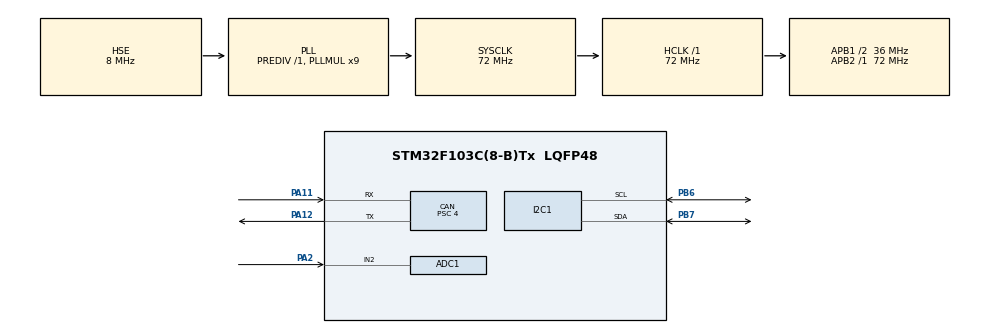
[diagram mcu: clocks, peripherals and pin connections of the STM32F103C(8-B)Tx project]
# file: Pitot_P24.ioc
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ADC1.Channel-1\#ChannelRegularConversion=ADC_CHANNEL_2
ADC1.ContinuousConvMode=ENABLE
ADC1.NbrOfConversion=1
ADC1.NbrOfConversionFlag=1
ADC1.Rank-1\#ChannelRegularConversion=1
ADC1.SamplingTime-1\#ChannelRegularConversion=ADC_SAMPLETIME_1CYCLE_5
ADC1.master=1
CAN.BS1=CAN_BS1_6TQ
CAN.BS2=CAN_BS2_2TQ
CAN.CalculateBaudRate=1000000
CAN.CalculateTimeBit=1000
CAN.CalculateTimeQuantum=111.11111111111111
CAN.Mode=CAN_MODE_NORMAL
CAN.Prescaler=4
Dma.ADC1.0.Direction=DMA_PERIPH_TO_MEMORY
Dma.ADC1.0.Instance=DMA1_Channel1
Dma.ADC1.0.MemDataAlignment=DMA_MDATAALIGN_HALFWORD
Dma.ADC1.0.MemInc=DMA_MINC_ENABLE
Dma.ADC1.0.Mode=DMA_NORMAL
Dma.ADC1.0.PeriphDataAlignment=DMA_PDATAALIGN_HALFWORD
Dma.ADC1.0.PeriphInc=DMA_PINC_DISABLE
Dma.ADC1.0.Priority=DMA_PRIORITY_LOW
Dma.Request0=ADC1
Mcu.Family=STM32F1
Mcu.Name=STM32F103C(8-B)Tx
Mcu.Package=LQFP48
NVIC.ADC1_2_IRQn=true\:0\:0\:false\:false\:true\:true\:true\:true
NVIC.DMA1_Channel1_IRQn=true\:0\:0\:false\:false\:true\:false\:true\:true
NVIC.PriorityGroup=NVIC_PRIORITYGROUP_4
NVIC.USB_HP_CAN1_TX_IRQn=true\:0\:0\:false\:false\:true\:true\:true\:true
NVIC.USB_LP_CAN1_RX0_IRQn=true\:0\:0\:false\:false\:true\:true\:true\:true
PA11.Mode=CAN_Activate
PA11.Signal=CAN_RX
PA12.Mode=CAN_Activate
PA12.Signal=CAN_TX
PA13.Mode=Serial_Wire
PA13.Signal=SYS_JTMS-SWDIO
PA14.Mode=Serial_Wire
PA14.Signal=SYS_JTCK-SWCLK
PA2.Signal=ADCx_IN2
PB6.Mode=I2C
PB6.Signal=I2C1_SCL
PB7.Mode=I2C
PB7.Signal=I2C1_SDA
PD0-OSC_IN.Mode=HSE-External-Oscillator
PD0-OSC_IN.Signal=RCC_OSC_IN
PD1-OSC_OUT.Mode=HSE-External-Oscillator
PD1-OSC_OUT.Signal=RCC_OSC_OUT
ProjectManager.HeapSize=0x200
ProjectManager.StackSize=0x400
ProjectManager.TargetToolchain=STM32CubeIDE
RCC.ADCPresc=RCC_ADCPCLK2_DIV6
RCC.AHBFreq_Value=72000000
RCC.APB1CLKDivider=RCC_HCLK_DIV2
RCC.APB1Freq_Value=36000000
RCC.APB1TimFreq_Value=72000000
RCC.APB2Freq_Value=72000000
RCC.APB2TimFreq_Value=72000000
RCC.HCLKFreq_Value=72000000
RCC.PLLMUL=RCC_PLL_MUL9
RCC.PLLSourceVirtual=RCC_PLLSOURCE_HSE
RCC.SYSCLKFreq_VALUE=72000000
RCC.SYSCLKSource=RCC_SYSCLKSOURCE_PLLCLK
RCC.USBFreq_Value=72000000
SH.ADCx_IN2.0=ADC1_IN2,IN2
VP_TIM4_VS_ClockSourceITR.Mode=TriggerSource_ITR0
VP_TIM4_VS_ControllerModeClock.Mode=Clock Mode
board=custom

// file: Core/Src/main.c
/* USER CODE BEGIN Header */
/**
 ******************************************************************************
 * @file           : main.c
 * @brief          : Main program body
 ******************************************************************************
 * @attention
 *
 * Copyright (c) 2023 STMicroelectronics.
 * All rights reserved.
 *
 * This software is licensed under terms that can be found in the LICENSE file
 * in the root directory of this software component.
 * If no LICENSE file comes with this software, it is provided AS-IS.
 *
 ******************************************************************************
 */
/* USER CODE END Header */
#include "main.h"
/* USER CODE BEGIN Includes */
#include <math.h>
/* USER CODE END Includes */
/* USER CODE BEGIN PD */
#define I2C_PITOT 0
#define ADC_PITOT 1
#define FUNCTION I2C_PITOT
#define CAN_TIME 30
#define TIME_OUT 1000
#define DPUpperRange 2047
#define DPLowerRange 0
#define MS45x5DO_Fault 0
#define Pmax 14746
#define Pmin 1638
#define Tmax 150
#define Tmin -50
#define ADC_BUF_LEN 1
#define smooth  2000
/* USER CODE END PD */
ADC_HandleTypeDef hadc1;
DMA_HandleTypeDef hdma_adc1;
CAN_HandleTypeDef hcan;
I2C_HandleTypeDef hi2c1;
TIM_HandleTypeDef htim4;
void SystemClock_Config(void);
static void MX_GPIO_Init(void);
static void MX_DMA_Init(void);
static void MX_CAN_Init(void);
static void MX_I2C1_Init(void);
static void MX_TIM4_Init(void);
static void MX_ADC1_Init(void);
/* USER CODE BEGIN PFP */
#if (FUNCTION == ADC_PITOT)
uint8_t msg[8]={0,0,0,0,0,0,0,0};
uint16_t adc_buf[ADC_BUF_LEN];
uint8_t x[3] = {0,0,0};
volatile uint8_t overr_flag=0, allow=1;
uint16_t adcVal1[smooth], test = 0;
long long int final[1] = {0};
int time=0;
char val[100];
unsigned int current = 0, msg_previous = 0, msg_interval, default_msg_interval, can_int_prev=0, can_int_interval=100;
int adc_pitot =0;
float analog_pitot=0;
float pressure = 0;
float digits = 0;
#endif
float U;
float fp_avg;
float fpfilt;
uint8_t fpcnt;
float tmp_avg;
float tmpfilt;
uint8_t tmpcnt;
uint32_t time,tick,timecan,tickcan;
uint8_t startup_flag;
uint16_t pcnt;
uint32_t psum;
uint16_t error_cnt;
uint16_t cant_receive;
CAN_TxHeaderTypeDef TxHeader;
CAN_RxHeaderTypeDef RxHeader;
uint32_t TxMailbox;
uint8_t RxData[8], TxData[8], temp, pressure, t;;
uint8_t ACCU[8];
uint32_t time_since_last_message_accu, time_since_last_message_elcon_tsac_can_bus_rx,display_time;
uint8_t counter, flag,flagg;
/* USER CODE END PFP */
/* USER CODE BEGIN 0 */
#if (FUNCTION == I2C_PITOT)
typedef struct MS45x5DOObject {
   uint8_t devAddress;
   union {
       struct {
           uint16_t pressure:14;          // to purpose to union einai to ejhs:
           uint16_t status:2;
           uint16_t insignificance:5;  //otan kaneis access to msData apo pData tote kaneis access ta memebers tou struct, ENW
           uint16_t temperature:11;    //otan kaneis acces to msdata apo rData tote kaneis access ta raw bytes tou rData[4] pinaka (4 bytes)
       }pData;                          // etsi ta 4 bytes tou rData periexoun ta temperature, pressure, insignificance klp..
       uint8_t rData[4];              // diladi, to rData[0] periexei ta LSB gia to "pressure" kai to "status", alla oxi olo to value se bit gia to kathena.....
   }msData;
   int type;
   float pUpperRange;
   float pLowerRange;
   float fTemperature;
   float fPressure;
   void (*Write)(struct MS45x5DOObject *ms,uint8_t *wData,uint16_t wSize);
   void (*Read)(struct MS45x5DOObject *ms,uint8_t *rData,uint16_t rSize);
   void (*Delayms)(volatile uint32_t nTime);
   uint32_t pavg;
   int8_t sign;
}MS45x5DOObjectType;
MS45x5DOObjectType msDP;
//i2c
typedef void (*MS45x5DOWrite)(struct MS45x5DOObject *ms,uint8_t *wData,uint16_t wSize);
typedef void (*MS45x5DORead)(struct MS45x5DOObject *ms,uint8_t *rData,uint16_t rSize);
typedef void (*MS45x5DODelayms)(volatile uint32_t nTime);
static void WriteToDP(MS45x5DOObjectType *ms,uint8_t *wData,uint16_t wSize)
{
   HAL_I2C_Master_Transmit(&hi2c1,ms->devAddress,wData,wSize,1000);
}
static void ReadFromDP(MS45x5DOObjectType *ms,uint8_t *rData,uint16_t rSize)
{
   HAL_I2C_Master_Receive(&hi2c1,ms->devAddress,rData, rSize, 1000);
}
void MS45x5DOInitialization(MS45x5DOObjectType *ms,
                           uint8_t devAddress,
                           int type,
                           float pMax,
                           float pMin,
                           MS45x5DOWrite write,
                           MS45x5DORead read,
                           MS45x5DODelayms delayms
                               )
{
   if((ms==NULL)||(write==NULL)||(read==NULL)||(delayms==NULL))
   {
       return;
   }
   ms->Write=write;
   ms->Read=read;
   ms->Delayms=delayms;
   if((devAddress==0x28)||(devAddress==0x36)||(devAddress==0x46)||((0x48<=devAddress)&&(devAddress<=0x51))) //I2C slave address
   {
       ms->devAddress=(devAddress<<1);
   }
   else if((devAddress==0x50)||(devAddress==0x6C)||(devAddress==0x8C)||((0x48<=(devAddress/2))&&((devAddress/2)<=0x51)))
   {
       ms->devAddress=devAddress;
   }
   else
   {
       ms->devAddress=0x00;
   }
   ms->type=type;
   ms->fPressure=0.0;
   ms->fTemperature=0.0;
   ms->msData.rData[0]=0;
   ms->msData.rData[1]=0;
   ms->msData.rData[2]=0;
   ms->msData.rData[3]=0;
   if((pMax<=0.0000001)&&(pMin<=0.0000001))
   {
       ms->pUpperRange=100.0;
       ms->pLowerRange=0.0;
   }
   else
   {
       ms->pUpperRange=pMax;
       ms->pLowerRange=pMin;
   }
}
void GetMS45x5DOConversionValue(MS45x5DOObjectType *ms)
{
   uint8_t rData[4]={0,0,0,0};
   float maxCount=16383;
   float minCount=0;
   if(ms->type==0)
   {
       maxCount=13106;
       minCount=1638;
   }
   else
   {
       maxCount=14746;
       minCount=819;
   }
   ms->Read(ms,rData,4); //this receives data constantly------------------------------------------nomizw kapws i msdoconversion (sthn while(1)) kallei thn *Read pou deixnei (mesa sthn conversion) sthn local "read" h opoia efoson einai orisma ths void kalei thn MS45x5DORead. omws, sthn initialize, h MS45x5DORead einai proteleftaio orisma. h initialize kaleitai sthn int main me parametro ReadfromDP, h opoia kanei read mesw ths I2C_master_transmit. h while epetai ths klhshs initialization sthn int main, ara etsi lambanei data synexws sthn while (1)
   ms->msData.rData[0]=rData[1]; // where rData[1]==pressu ---- edw anadiatassei ta data pou kanei receive o sensoras, symfwna me thn seira ton data pou exei thesei o idios
   ms->msData.rData[1]=rData[0]; // where rData[0]=status    ----px thelei prwta thn thermokrasia (leme twra) ara data[0] enw o sensoras thn stelnei teleytaia data[3]
   ms->msData.rData[2]=rData[3]; // ...insignificance
   ms->msData.rData[3]=rData[2]; // .... temperature
   if(ms->msData.pData.status!=MS45x5DO_Fault)
   {
      //ms->fPressure = (((float)))
   	ms->fPressure=(((float)(ms->msData.pData.pressure + (8192 - 8090)))/16384.0f);
   	//ms->fPressure=(((float)(8192 + (8192 - ms->pavg)))/16384.0f);
   	if (ms->fPressure >= 0.5) {
   		ms->fPressure -= 0.5;
   		ms->sign = 1;
   	}
   	else {
   		ms->fPressure =0.5 - ms->fPressure;
   		ms->sign = -1;
   	}
   	ms->fPressure *= 6894.75729 * 2;
       ms->fTemperature=((float)ms->msData.pData.temperature/2047.0)*200.0-50.0;
   }
}
#endif
////CANBUS
CAN_TxHeaderTypeDef TxHeader;
CAN_RxHeaderTypeDef RxHeader;
uint32_t TxMailbox;
int i, lasttick;
/* USER CODE END 0 */
int main(void)
{
 /* MCU Configuration--------------------------------------------------------*/
 /* Reset of all peripherals, Initializes the Flash interface and the Systick. */
 HAL_Init();
 /* Configure the system clock */
 SystemClock_Config();
 /* Initialize all configured peripherals */
 MX_GPIO_Init();
 MX_DMA_Init();
 MX_CAN_Init();
 MX_I2C1_Init();
 MX_TIM4_Init();
 MX_ADC1_Init();
 /* USER CODE BEGIN 2 */
//#if (FUNCTION == I2C_PITOT)
//  MS45x5DOInitialization(&msDP,0x28,0,DPUpperRange,DPLowerRange,WriteToDP,ReadFromDP,HAL_Delay);
//#endif
 HAL_Delay(1000);
 //HAL_ADC_Start_DMA(&hadc1,(uint32_t*)adc_buf,ADC_BUF_LEN);
 uint8_t r = 1.2047; //1.1.1687; grammars/liter
 /* USER CODE END 2 */
 /* Infinite loop */
 while (1)
 {
   /* USER CODE BEGIN 3 */
	  //--------------------------------------------------------------------------------delete from here
	  	  	  TxHeader.StdId = 0x499;
			  TxData[0]=69;
			  TxData[1]= 54;    //ayto to kanoume genika epd to canbus stelnei mono integers kai oxi floats
	     	  TxData[2]= 54;   //opote tis kanoume convert se integers kai meta tis stelnoume
	     	  TxData[3]= 54;
	     	  TxData[4]= 54; //kaneis >>8 epd exeis uint16_t kai ara kaneis shift 8 theseis dejia
	     	  TxData[5]= 54;
	     	  TxData[6]= 0;
	     	  TxData[7]= 0;
	     	 if(HAL_CAN_AddTxMessage(&hcan, &TxHeader, TxData, &TxMailbox) != HAL_OK){
	     	     		  error_cnt++;;
	     	     	  }
	     	 //HAL_CAN_RxFifo0MsgPendingCallback(&hcan); // only for loopback mode
	   //-------------------------------------------------------------------------------- to here
//	  GetMS45x5DOConversionValue(&msDP);
//
//	  if(fpcnt < 10){
//		  fp_avg += msDP.fPressure;
//		  fpcnt++;
//	  }
//	  else{
//		  fpfilt = (float)fp_avg/(float)fpcnt;  //in PSI
//		  fpcnt = 0;
//		  fp_avg = 0;
//		  time = HAL_GetTick() - tick;
//		  tick = HAL_GetTick();
//	  }
//
//	  if(tmpcnt < 200){
//		  tmp_avg += msDP.fTemperature;
//		  tmpcnt++;
//	  }
//	  else{
//		  tmpfilt = (float)tmp_avg/(float)tmpcnt;
//		  tmpcnt = 0;
//		  tmp_avg = 0;
//
//	  }
//
//	  U = sqrt(2*fabsf(fpfilt)/r); // nmz m/sec
//
//	  //the expression (2*fabsf(fpfilt)/r) represents the dynamic pressure of the fluid flow,
//	  //and taking the sqrt of it, you get the airspeed
//
//	  timecan = HAL_GetTick() - tickcan;
//
//
//      if(timecan > CAN_TIME){
//    	  TxHeader.StdId = 0x499;
//    	  //TxData[0]= (uint16_t)(fpfilt*1000) >> 8; //gnka exeis times tou typou 25.654 kai 25.654*1000==25654
//    	  TxData[1]= (uint16_t)(fpfilt*1000);    //ayto to kanoume genika epd to canbus stelnei mono integers kai oxi floats
//    	  TxData[2]= (uint16_t)(U*1000) >> 8;    //opote tis kanoume convert se integers kai meta tis stelnoume
//    	  TxData[3]= (uint16_t)(U*1000);
//    	  TxData[4]= (uint16_t)(tmpfilt*1000) >> 8;  //kaneis >>8 epd exeis uint16_t kai ara kaneis shift 8 theseis dejia
//    	  TxData[5]= (uint16_t)(tmpfilt*1000);
//    	  TxData[6]= 0;
//    	  TxData[7]= 0;
//    	  if(HAL_CAN_AddTxMessage(&hcan, &TxHeader, TxData, &TxMailbox) != HAL_OK){
//    		  error_cnt++;;
//    	  }
//
//    	  //HAL_CAN_RxFifo0MsgPendingCallback(&hcan); // only for loopback mode
//
//
////    	  if (HAL_CAN_GetRxMessage(&hcan, &RxHeader, Rxdata, &RxMailbox) != HAL_OK) {
////    	      		  cant_receive++;
////    	      	  }
//    	  tickcan = HAL_GetTick();
//	  }
//
//	  if(!startup_flag && msDP.msData.pData.pressure != 0) {
//		  if(pcnt < 1000){
//			  psum += msDP.msData.pData.pressure;
//		  	  pcnt++;
//		  }
//		  else {
//			  msDP.pavg = psum/pcnt;
//			  startup_flag++;
//		  }
//	  }
	  //U = sqrt(2*fabsf(msDP.fPressure))/r;
#if (FUNCTION == ADC_PITOT)
	  HAL_ADC_Start_DMA(&hadc1,(uint32_t*)adc_buf,ADC_BUF_LEN);
	  	  current = HAL_GetTick();
	  	  if (msg_previous < current) {
	  		  analog_pitot = ((float)adc_pitot)*0.001241;
	  		  pressure = analog_pitot - 2.5;
	  	  uint8_t r = 1.2047;
	  	  U = sqrt((2000*fabsf(pressure))/r);
	  	  adcVal1[time]=adc_buf[0];
	  	  if(time==smooth-1) {
	  		  for(int i=0; i<smooth; i++) {
	  			  final[0]+=adcVal1[i];
	  		  }
	  		  final[0]/=smooth;
	  		  adc_pitot=final[0];
	  		  time=0;
	  	  }
	  	  else {
	  		  time++;
	  	  }
#endif
 }
 /* USER CODE END 3 */
}
void SystemClock_Config(void)
{
 RCC_OscInitTypeDef RCC_OscInitStruct = {0};
 RCC_ClkInitTypeDef RCC_ClkInitStruct = {0};
 RCC_PeriphCLKInitTypeDef PeriphClkInit = {0};
 /** Initializes the RCC Oscillators according to the specified parameters
 * in the RCC_OscInitTypeDef structure.
 */
 RCC_OscInitStruct.OscillatorType = RCC_OSCILLATORTYPE_HSE;
 RCC_OscInitStruct.HSEState = RCC_HSE_ON;
 RCC_OscInitStruct.HSEPredivValue = RCC_HSE_PREDIV_DIV1;
 RCC_OscInitStruct.HSIState = RCC_HSI_ON;
 RCC_OscInitStruct.PLL.PLLState = RCC_PLL_ON;
 RCC_OscInitStruct.PLL.PLLSource = RCC_PLLSOURCE_HSE;
 RCC_OscInitStruct.PLL.PLLMUL = RCC_PLL_MUL9;
 if (HAL_RCC_OscConfig(&RCC_OscInitStruct) != HAL_OK)
 {
   Error_Handler();
 }
 /** Initializes the CPU, AHB and APB buses clocks
 */
 RCC_ClkInitStruct.ClockType = RCC_CLOCKTYPE_HCLK|RCC_CLOCKTYPE_SYSCLK
                             |RCC_CLOCKTYPE_PCLK1|RCC_CLOCKTYPE_PCLK2;
 RCC_ClkInitStruct.SYSCLKSource = RCC_SYSCLKSOURCE_PLLCLK;
 RCC_ClkInitStruct.AHBCLKDivider = RCC_SYSCLK_DIV1;
 RCC_ClkInitStruct.APB1CLKDivider = RCC_HCLK_DIV2;
 RCC_ClkInitStruct.APB2CLKDivider = RCC_HCLK_DIV1;
 if (HAL_RCC_ClockConfig(&RCC_ClkInitStruct, FLASH_LATENCY_2) != HAL_OK)
 {
   Error_Handler();
 }
 PeriphClkInit.PeriphClockSelection = RCC_PERIPHCLK_ADC;
 PeriphClkInit.AdcClockSelection = RCC_ADCPCLK2_DIV6;
 if (HAL_RCCEx_PeriphCLKConfig(&PeriphClkInit) != HAL_OK)
 {
   Error_Handler();
 }
}
static void MX_ADC1_Init(void)
{
 ADC_ChannelConfTypeDef sConfig = {0};
 /** Common config
 */
 hadc1.Instance = ADC1;
 hadc1.Init.ScanConvMode = ADC_SCAN_DISABLE;
 hadc1.Init.ContinuousConvMode = ENABLE;
 hadc1.Init.DiscontinuousConvMode = DISABLE;
 hadc1.Init.ExternalTrigConv = ADC_SOFTWARE_START;
 hadc1.Init.DataAlign = ADC_DATAALIGN_RIGHT;
 hadc1.Init.NbrOfConversion = 1;
 if (HAL_ADC_Init(&hadc1) != HAL_OK)
 {
   Error_Handler();
 }
 /** Configure Regular Channel
 */
 sConfig.Channel = ADC_CHANNEL_2;
 sConfig.Rank = ADC_REGULAR_RANK_1;
 sConfig.SamplingTime = ADC_SAMPLETIME_1CYCLE_5;
 if (HAL_ADC_ConfigChannel(&hadc1, &sConfig) != HAL_OK)
 {
   Error_Handler();
 }
}
static void MX_CAN_Init(void)
{
 hcan.Instance = CAN1;
 hcan.Init.Prescaler = 4;
 hcan.Init.Mode = CAN_MODE_NORMAL;
 hcan.Init.SyncJumpWidth = CAN_SJW_1TQ;
 hcan.Init.TimeSeg1 = CAN_BS1_6TQ;
 hcan.Init.TimeSeg2 = CAN_BS2_2TQ;
 hcan.Init.TimeTriggeredMode = DISABLE;
 hcan.Init.AutoBusOff = DISABLE;
 hcan.Init.AutoWakeUp = DISABLE;
 hcan.Init.AutoRetransmission = DISABLE;
 hcan.Init.ReceiveFifoLocked = DISABLE;
 hcan.Init.TransmitFifoPriority = DISABLE;
 if (HAL_CAN_Init(&hcan) != HAL_OK)
 {
   Error_Handler();
 }
 /* USER CODE BEGIN CAN_Init 2 */
 CAN_FilterTypeDef canfilterconfig;
   canfilterconfig.FilterActivation = CAN_FILTER_ENABLE;
   canfilterconfig.FilterBank = 10;
   canfilterconfig.FilterFIFOAssignment = CAN_RX_FIFO0;
   canfilterconfig.FilterIdHigh = 0;
   canfilterconfig.FilterIdLow = 0;
   canfilterconfig.FilterMaskIdHigh =0;
   canfilterconfig.FilterMaskIdLow = 0;
   canfilterconfig.FilterMode = CAN_FILTERMODE_IDMASK;
   canfilterconfig.FilterScale = CAN_FILTERSCALE_32BIT;
   canfilterconfig.SlaveStartFilterBank = 0;
   HAL_CAN_ConfigFilter(&hcan, &canfilterconfig);
   HAL_CAN_Start(&hcan);
   HAL_CAN_ActivateNotification(&hcan, CAN_IT_RX_FIFO0_MSG_PENDING);
   TxHeader.DLC = 8;
   TxHeader.IDE = CAN_ID_STD;
   TxHeader.RTR = CAN_RTR_DATA;
   TxHeader.TransmitGlobalTime = DISABLE;
//
		RxHeader.DLC = 8;
		RxHeader.IDE = CAN_ID_STD;
       RxHeader.RTR = CAN_RTR_DATA;
       //RxHeader.ReceiveGlobalTime = DISABLE;
 /* USER CODE END CAN_Init 2 */
}
static void MX_I2C1_Init(void)
{
 hi2c1.Instance = I2C1;
 hi2c1.Init.ClockSpeed = 100000;
 hi2c1.Init.DutyCycle = I2C_DUTYCYCLE_2;
 hi2c1.Init.OwnAddress1 = 0;
 hi2c1.Init.AddressingMode = I2C_ADDRESSINGMODE_7BIT;
 hi2c1.Init.DualAddressMode = I2C_DUALADDRESS_DISABLE;
 hi2c1.Init.OwnAddress2 = 0;
 hi2c1.Init.GeneralCallMode = I2C_GENERALCALL_DISABLE;
 hi2c1.Init.NoStretchMode = I2C_NOSTRETCH_DISABLE;
 if (HAL_I2C_Init(&hi2c1) != HAL_OK)
 {
   Error_Handler();
 }
}
static void MX_TIM4_Init(void)
{
 TIM_SlaveConfigTypeDef sSlaveConfig = {0};
 TIM_MasterConfigTypeDef sMasterConfig = {0};
 htim4.Instance = TIM4;
 htim4.Init.Prescaler = 0;
 htim4.Init.CounterMode = TIM_COUNTERMODE_UP;
 htim4.Init.Period = 65535;
 htim4.Init.ClockDivision = TIM_CLOCKDIVISION_DIV1;
 htim4.Init.AutoReloadPreload = TIM_AUTORELOAD_PRELOAD_DISABLE;
 if (HAL_TIM_Base_Init(&htim4) != HAL_OK)
 {
   Error_Handler();
 }
 sSlaveConfig.SlaveMode = TIM_SLAVEMODE_EXTERNAL1;
 sSlaveConfig.InputTrigger = TIM_TS_ITR0;
 if (HAL_TIM_SlaveConfigSynchro(&htim4, &sSlaveConfig) != HAL_OK)
 {
   Error_Handler();
 }
 sMasterConfig.MasterOutputTrigger = TIM_TRGO_RESET;
 sMasterConfig.MasterSlaveMode = TIM_MASTERSLAVEMODE_DISABLE;
 if (HAL_TIMEx_MasterConfigSynchronization(&htim4, &sMasterConfig) != HAL_OK)
 {
   Error_Handler();
 }
}
static void MX_DMA_Init(void)
{
 /* DMA controller clock enable */
 __HAL_RCC_DMA1_CLK_ENABLE();
 /* DMA interrupt init */
 /* DMA1_Channel1_IRQn interrupt configuration */
 HAL_NVIC_SetPriority(DMA1_Channel1_IRQn, 0, 0);
 HAL_NVIC_EnableIRQ(DMA1_Channel1_IRQn);
}
static void MX_GPIO_Init(void)
{
 /* GPIO Ports Clock Enable */
 __HAL_RCC_GPIOD_CLK_ENABLE();
 __HAL_RCC_GPIOA_CLK_ENABLE();
 __HAL_RCC_GPIOB_CLK_ENABLE();
}
/* USER CODE BEGIN 4 */
void HAL_CAN_RxFifo0MsgPendingCallback(CAN_HandleTypeDef *hcan)
{
	HAL_CAN_GetRxMessage(hcan, CAN_RX_FIFO0, &RxHeader, RxData);
}
/* USER CODE END 4 */
void Error_Handler(void)
{
 __disable_irq();
 while (1)
 {
 }
}
